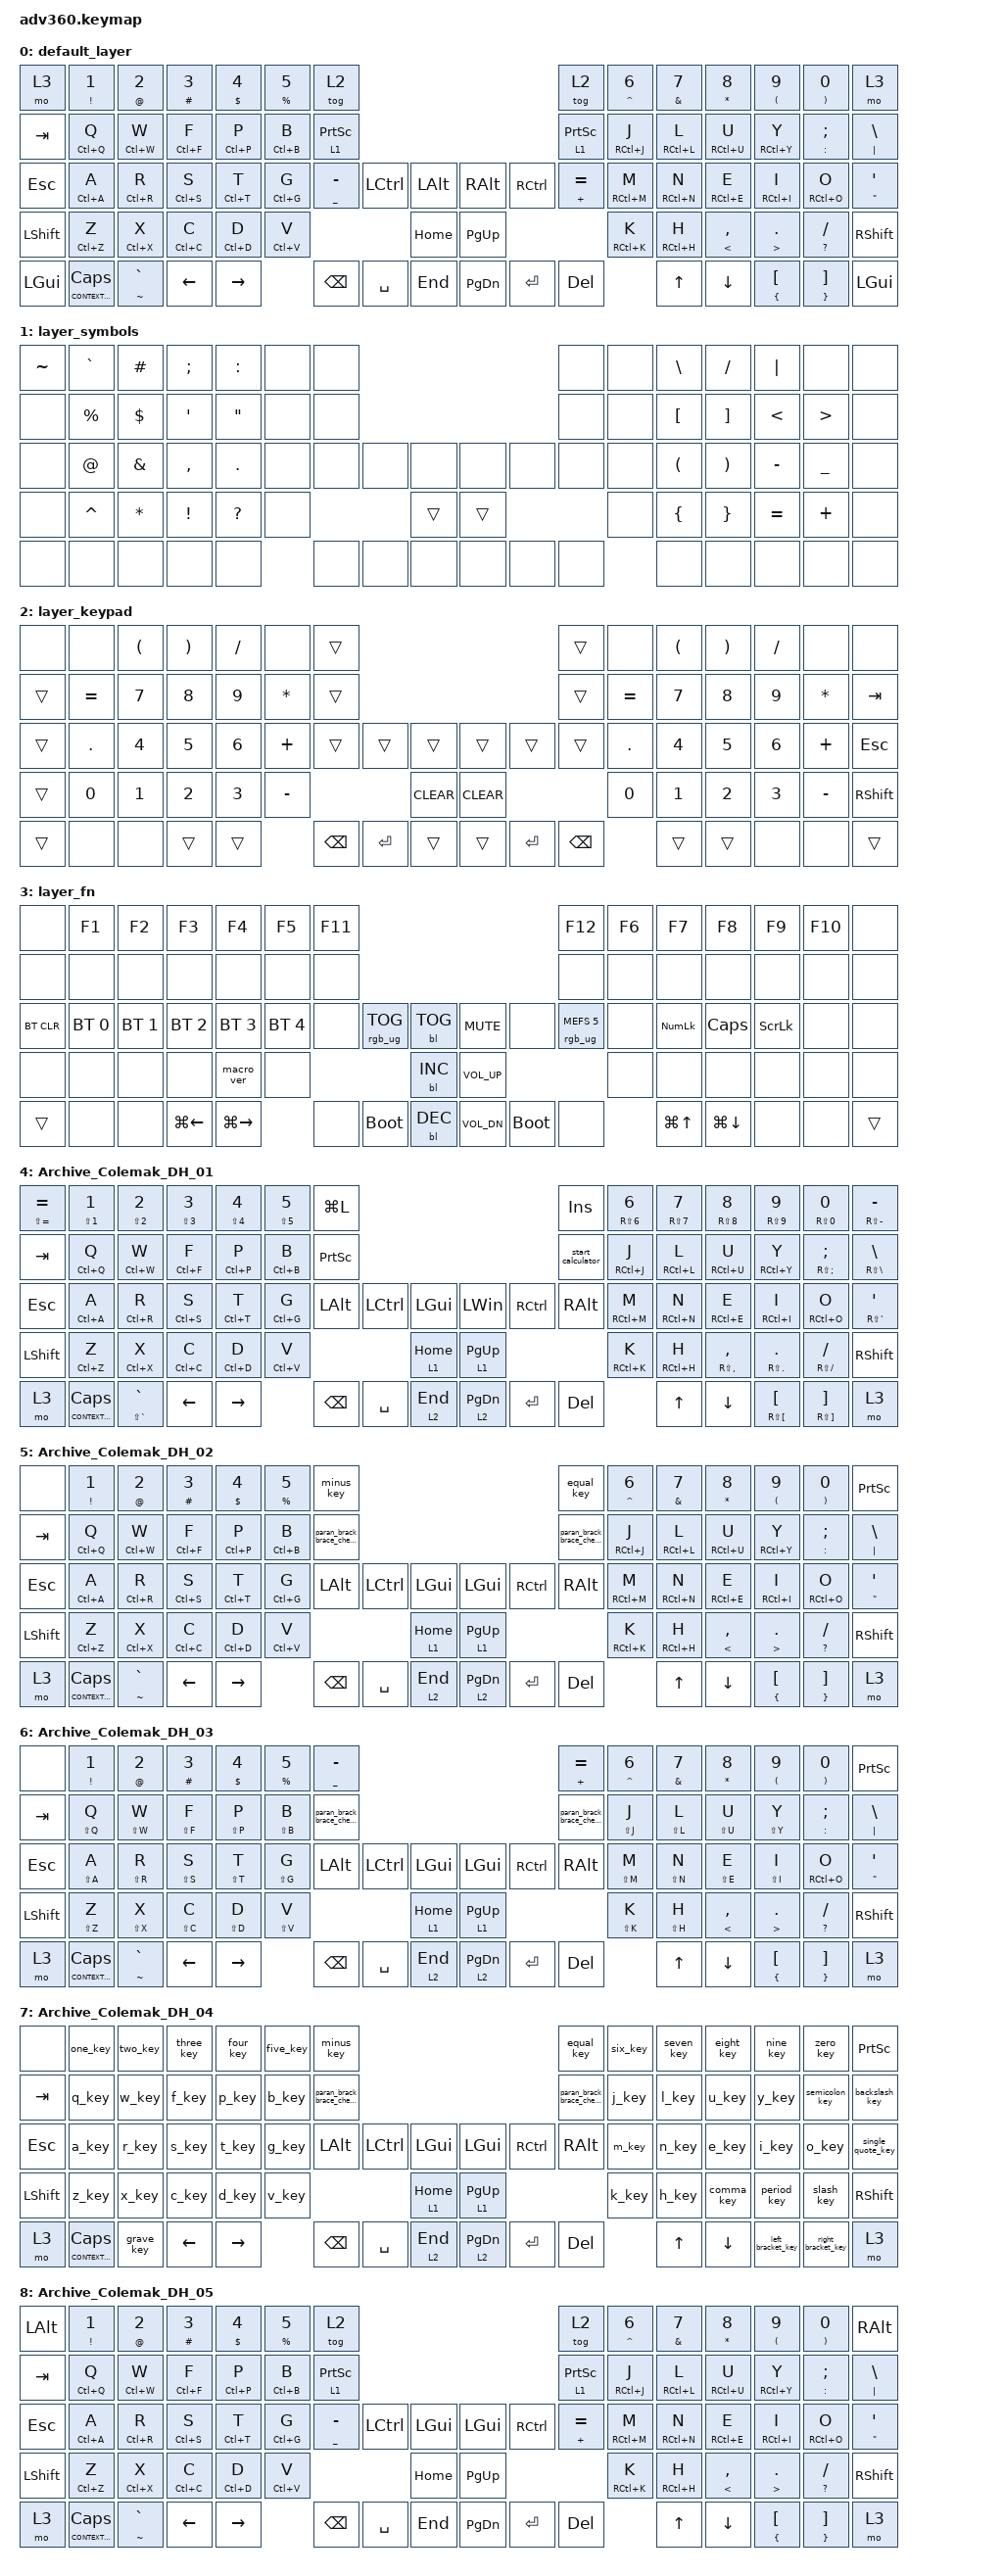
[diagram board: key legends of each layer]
/*
 * Copyright (c) 2020 The ZMK Contributors
 *
 * SPDX-License-Identifier: MIT
 */
/* THIS FILE WAS GENERATED!
 *
 * This file was generated automatically. You may or may not want to
 * edit it directly.
 */

#include <behaviors.dtsi>
#include <dt-bindings/zmk/backlight.h>
#include <dt-bindings/zmk/bt.h>
#include <dt-bindings/zmk/keys.h>
#include <dt-bindings/zmk/rgb.h>

&mt {
    flavor = "tap-preferred";
    tapping-term-ms = <200>;
};

/ {
    behaviors {
        #include "macros.dtsi"
    #include "version.dtsi"

        hm: homerow_mods {
            compatible = "zmk,behavior-hold-tap";
            label = "HOMEROW_MODS";
            #binding-cells = <2>;
            tapping-term-ms = <200>;
            quick_tap_ms = <175>;
            flavor = "tap-preferred";
            bindings = <&kp>, <&kp>;
        };

        check_battery: check_battery {
            compatible = "zmk,behavior-tap-dance";
            label = "CHECK_BATTERY";
            #binding-cells = <0>;
            bindings = <&mo 3>, <&rgb_ug RGB_TOG>;
        };

        tap_and_mo: tap_and_mo {
            compatible = "zmk,behavior-hold-tap";
            label = "TAP_AND_MO";
            bindings = <&mo>, <&kp>;

            #binding-cells = <2>;
            flavor = "tap-preferred";
            tapping-term-ms = <400>;
        };

        tap_and_tog: tap_and_tog {
            compatible = "zmk,behavior-hold-tap";
            label = "TAP_AND_TOG";
            bindings = <&tog>, <&kp>;

            #binding-cells = <2>;
            tapping-term-ms = <400>;
            flavor = "tap-preferred";
        };

        paran_brack_brace_chev_left: paran_brack_brace_chev_left {
            compatible = "zmk,behavior-tap-dance";
            label = "paran_brack_brace_chev_left";
            #binding-cells = <0>;
            bindings =
                <&kp LEFT_PARENTHESIS>,
                <&kp LEFT_BRACKET>,
                <&kp LEFT_BRACE>,
                <&kp LESS_THAN>;

            tapping-term-ms = <200>;
        };

        paran_brack_brace_chev_right: paran_brack_brace_chev_right {
            compatible = "zmk,behavior-tap-dance";
            label = "PARAN_BRACK_BRACE_CHEV_RIGHT";
            #binding-cells = <0>;
            bindings =
                <&kp RIGHT_PARENTHESIS>,
                <&kp RIGHT_BRACKET>,
                <&kp RIGHT_BRACE>,
                <&kp GREATER_THAN>;

            tapping-term-ms = <200>;
        };

        minus_key: minus_key {
            compatible = "zmk,behavior-tap-dance";
            label = "MINUS_KEY";
            #binding-cells = <0>;
            bindings =
                <&kp MINUS>,
                <&mt LS(MINUS) MINUS>,
                <&mt LC(MINUS) MINUS>,
                <&mt LA(MINUS) MINUS>;

            tapping-term-ms = <150>;
        };

        equal_key: equal_key {
            compatible = "zmk,behavior-tap-dance";
            label = "EQUAL_KEY";
            #binding-cells = <0>;
            bindings =
                <&kp EQUAL>,
                <&mt RS(EQUAL) EQUAL>,
                <&mt RC(EQUAL) EQUAL>,
                <&mt RA(EQUAL) EQUAL>;

            tapping-term-ms = <150>;
        };

        one_key: one_key {
            compatible = "zmk,behavior-tap-dance";
            label = "ONE_KEY";
            #binding-cells = <0>;
            bindings =
                <&kp NUMBER_1>,
                <&mt LS(NUMBER_1) NUMBER_1>,
                <&mt LC(NUMBER_1) NUMBER_1>,
                <&mt LA(NUMBER_1) NUMBER_1>;

            tapping-term-ms = <150>;
        };

        two_key: two_key {
            compatible = "zmk,behavior-tap-dance";
            label = "TWO_KEY";
            #binding-cells = <0>;
            bindings =
                <&kp NUMBER_2>,
                <&mt LS(NUMBER_2) NUMBER_2>,
                <&mt LC(NUMBER_2) NUMBER_2>,
                <&mt LA(NUMBER_2) NUMBER_2>;

            tapping-term-ms = <150>;
        };

        three_key: three_key {
            compatible = "zmk,behavior-tap-dance";
            label = "THREE_KEY";
            #binding-cells = <0>;
            bindings =
                <&kp NUMBER_3>,
                <&mt LS(NUMBER_3) NUMBER_3>,
                <&mt LC(NUMBER_3) NUMBER_3>,
                <&mt LA(NUMBER_3) NUMBER_3>;

            tapping-term-ms = <150>;
        };

        four_key: four_key {
            compatible = "zmk,behavior-tap-dance";
            label = "FOUR_KEY";
            #binding-cells = <0>;
            bindings =
                <&kp NUMBER_4>,
                <&mt LS(NUMBER_4) NUMBER_4>,
                <&mt LC(NUMBER_4) NUMBER_4>,
                <&mt LA(NUMBER_4) NUMBER_4>;

            tapping-term-ms = <150>;
        };

        five_key: five_key {
            compatible = "zmk,behavior-tap-dance";
            label = "FIVE_KEY";
            #binding-cells = <0>;
            bindings =
                <&kp NUMBER_5>,
                <&mt LS(NUMBER_5) NUMBER_5>,
                <&mt LC(NUMBER_5) NUMBER_5>,
                <&mt LA(NUMBER_5) NUMBER_5>;

            tapping-term-ms = <150>;
        };

        six_key: six_key {
            compatible = "zmk,behavior-tap-dance";
            label = "SIX_KEY";
            #binding-cells = <0>;
            bindings =
                <&kp NUMBER_6>,
                <&mt RS(NUMBER_6) NUMBER_6>,
                <&mt RC(NUMBER_6) NUMBER_6>,
                <&mt RA(NUMBER_6) NUMBER_6>;

            tapping-term-ms = <150>;
        };

        seven_key: seven_key {
            compatible = "zmk,behavior-tap-dance";
            label = "SEVEN_KEY";
            #binding-cells = <0>;
            bindings =
                <&kp NUMBER_7>,
                <&mt RS(NUMBER_7) NUMBER_7>,
                <&mt RC(NUMBER_7) NUMBER_7>,
                <&mt RA(NUMBER_7) NUMBER_7>;

            tapping-term-ms = <150>;
        };

        eight_key: eight_key {
            compatible = "zmk,behavior-tap-dance";
            label = "EIGHT_KEY";
            #binding-cells = <0>;
            bindings =
                <&kp NUMBER_8>,
                <&mt RS(NUMBER_8) NUMBER_8>,
                <&mt RC(NUMBER_8) NUMBER_8>,
                <&mt RA(NUMBER_8) NUMBER_8>;

            tapping-term-ms = <150>;
        };

        nine_key: nine_key {
            compatible = "zmk,behavior-tap-dance";
            label = "NINE_KEY";
            #binding-cells = <0>;
            bindings =
                <&kp NUMBER_9>,
                <&mt RS(NUMBER_9) NUMBER_9>,
                <&mt RC(NUMBER_9) NUMBER_9>,
                <&mt RA(NUMBER_9) NUMBER_9>;

            tapping-term-ms = <150>;
        };

        zero_key: zero_key {
            compatible = "zmk,behavior-tap-dance";
            label = "ZERO_KEY";
            #binding-cells = <0>;
            bindings =
                <&kp NUMBER_0>,
                <&mt RS(NUMBER_0) NUMBER_0>,
                <&mt RC(NUMBER_0) NUMBER_0>,
                <&mt RA(NUMBER_0) NUMBER_0>;

            tapping-term-ms = <150>;
        };

        q_key: q_key {
            compatible = "zmk,behavior-tap-dance";
            label = "Q_KEY";
            #binding-cells = <0>;
            bindings = <&kp Q>, <&mt LS(Q) Q>, <&mt LC(Q) Q>, <&mt LA(Q) Q>;

            tapping-term-ms = <150>;
        };

        w_key: w_key {
            compatible = "zmk,behavior-tap-dance";
            label = "W_KEY";
            #binding-cells = <0>;
            bindings = <&kp W>, <&mt LS(W) W>, <&mt LC(W) W>, <&mt LA(W) W>;

            tapping-term-ms = <150>;
        };

        f_key: f_key {
            compatible = "zmk,behavior-tap-dance";
            label = "F_KEY";
            #binding-cells = <0>;
            bindings = <&kp F>, <&mt LS(F) F>, <&mt LC(F) F>, <&mt LA(F) F>;

            tapping-term-ms = <150>;
        };

        p_key: p_key {
            compatible = "zmk,behavior-tap-dance";
            label = "P_KEY";
            #binding-cells = <0>;
            bindings = <&kp P>, <&mt LS(P) P>, <&mt LC(P) P>, <&mt LA(P) P>;

            tapping-term-ms = <150>;
        };

        b_key: b_key {
            compatible = "zmk,behavior-tap-dance";
            label = "B_KEY";
            #binding-cells = <0>;
            bindings = <&kp B>, <&mt LS(B) B>, <&mt LC(B) B>, <&mt LA(B) B>;

            tapping-term-ms = <150>;
        };

        j_key: j_key {
            compatible = "zmk,behavior-tap-dance";
            label = "J_KEY";
            #binding-cells = <0>;
            bindings = <&kp J>, <&mt RS(J) J>, <&mt RC(J) J>, <&mt RA(J) J>;

            tapping-term-ms = <150>;
        };

        l_key: l_key {
            compatible = "zmk,behavior-tap-dance";
            label = "L_KEY";
            #binding-cells = <0>;
            bindings = <&kp L>, <&mt RS(L) L>, <&mt RC(L) L>, <&mt RA(L) L>;

            tapping-term-ms = <150>;
        };

        u_key: u_key {
            compatible = "zmk,behavior-tap-dance";
            label = "U_KEY";
            #binding-cells = <0>;
            bindings = <&kp U>, <&mt RS(U) U>, <&mt RC(U) U>, <&mt RA(U) U>;

            tapping-term-ms = <150>;
        };

        y_key: y_key {
            compatible = "zmk,behavior-tap-dance";
            label = "Y_KEY";
            #binding-cells = <0>;
            bindings = <&kp Y>, <&mt RS(Y) Y>, <&mt RC(Y) Y>, <&mt RA(Y) Y>;

            tapping-term-ms = <150>;
        };

        a_key: a_key {
            compatible = "zmk,behavior-tap-dance";
            label = "A_KEY";
            #binding-cells = <0>;
            bindings = <&kp A>, <&mt LS(A) A>, <&mt LC(A) A>, <&mt LA(A) A>;

            tapping-term-ms = <150>;
        };

        r_key: r_key {
            compatible = "zmk,behavior-tap-dance";
            label = "R_KEY";
            #binding-cells = <0>;
            bindings = <&kp R>, <&mt LS(R) R>, <&mt LC(R) R>, <&mt LA(R) R>;

            tapping-term-ms = <150>;
        };

        s_key: s_key {
            compatible = "zmk,behavior-tap-dance";
            label = "S_KEY";
            #binding-cells = <0>;
            bindings = <&kp S>, <&mt LS(S) S>, <&mt LC(S) S>, <&mt LA(S) S>;

            tapping-term-ms = <150>;
        };

        t_key: t_key {
            compatible = "zmk,behavior-tap-dance";
            label = "T_KEY";
            #binding-cells = <0>;
            bindings = <&kp T>, <&mt LS(T) T>, <&mt LC(T) T>, <&mt LA(T) T>;

            tapping-term-ms = <150>;
        };

        g_key: g_key {
            compatible = "zmk,behavior-tap-dance";
            label = "G_KEY";
            #binding-cells = <0>;
            bindings = <&kp G>, <&mt LS(G) G>, <&mt LC(G) G>, <&mt LA(G) G>;

            tapping-term-ms = <150>;
        };

        m_key: m_key {
            compatible = "zmk,behavior-tap-dance";
            label = "M_KEY";
            #binding-cells = <0>;
            bindings = <&kp M>, <&mt RS(M) M>, <&mt RC(M) M>, <&mt RA(M) M>;

            tapping-term-ms = <150>;
        };

        n_key: n_key {
            compatible = "zmk,behavior-tap-dance";
            label = "N_KEY";
            #binding-cells = <0>;
            bindings = <&kp N>, <&mt RS(N) N>, <&mt RC(N) N>, <&mt RS(N) N>;

            tapping-term-ms = <150>;
        };

        e_key: e_key {
            compatible = "zmk,behavior-tap-dance";
            label = "E_KEY";
            #binding-cells = <0>;
            bindings = <&kp E>, <&mt RS(E) E>, <&mt RC(E) E>, <&mt RA(E) E>;

            tapping-term-ms = <150>;
        };

        i_key: i_key {
            compatible = "zmk,behavior-tap-dance";
            label = "I_KEY";
            #binding-cells = <0>;
            bindings = <&kp I>, <&mt RS(I) I>, <&mt RC(I) I>, <&mt RA(I) I>;

            tapping-term-ms = <150>;
        };

        o_key: o_key {
            compatible = "zmk,behavior-tap-dance";
            label = "O_KEY";
            #binding-cells = <0>;
            bindings = <&kp O>, <&mt RS(O) O>, <&mt RC(O) O>, <&mt RA(O) O>;

            tapping-term-ms = <150>;
        };

        z_key: z_key {
            compatible = "zmk,behavior-tap-dance";
            label = "Z_KEY";
            #binding-cells = <0>;
            bindings = <&kp Z>, <&mt LS(Z) Z>, <&mt LC(Z) Z>, <&mt LA(Z) Z>;

            tapping-term-ms = <150>;
        };

        x_key: x_key {
            compatible = "zmk,behavior-tap-dance";
            label = "X_KEY";
            #binding-cells = <0>;
            bindings = <&kp X>, <&mt LS(X) X>, <&mt LC(X) X>, <&mt LA(X) X>;

            tapping-term-ms = <150>;
        };

        c_key: c_key {
            compatible = "zmk,behavior-tap-dance";
            label = "C_KEY";
            #binding-cells = <0>;
            bindings = <&kp C>, <&mt LS(C) C>, <&mt LC(C) C>, <&mt LA(C) C>;

            tapping-term-ms = <150>;
        };

        d_key: d_key {
            compatible = "zmk,behavior-tap-dance";
            label = "D_KEY";
            #binding-cells = <0>;
            bindings = <&kp D>, <&mt LS(D) D>, <&mt LC(D) D>, <&mt LA(D) D>;

            tapping-term-ms = <150>;
        };

        v_key: v_key {
            compatible = "zmk,behavior-tap-dance";
            label = "V_KEY";
            #binding-cells = <0>;
            bindings = <&kp V>, <&mt LS(V) V>, <&mt LC(V) V>, <&mt LA(V) V>;

            tapping-term-ms = <150>;
        };

        k_key: k_key {
            compatible = "zmk,behavior-tap-dance";
            label = "K_KEY";
            #binding-cells = <0>;
            bindings = <&kp K>, <&mt RS(K) K>, <&mt RC(K) K>, <&mt RA(K) K>;

            tapping-term-ms = <150>;
        };

        h_key: h_key {
            compatible = "zmk,behavior-tap-dance";
            label = "H_KEY";
            #binding-cells = <0>;
            bindings = <&kp H>, <&mt RS(H) H>, <&mt RC(H) H>, <&mt RA(H) H>;

            tapping-term-ms = <150>;
        };

        semicolon_key: semicolon_key {
            compatible = "zmk,behavior-tap-dance";
            label = "SEMICOLON_KEY";
            #binding-cells = <0>;
            bindings =
                <&kp SEMICOLON>,
                <&mt RS(SEMICOLON) SEMICOLON>,
                <&mt RC(SEMICOLON) SEMICOLON>,
                <&mt RA(SEMICOLON) SEMICOLON>;

            tapping-term-ms = <150>;
        };

        backslash_key: backslash_key {
            compatible = "zmk,behavior-tap-dance";
            label = "BACKSLASH_KEY";
            #binding-cells = <0>;
            bindings =
                <&kp BACKSLASH>,
                <&mt RS(BACKSLASH) BACKSLASH>,
                <&mt RC(BACKSLASH) BACKSLASH>,
                <&mt RA(BACKSLASH) BACKSLASH>;

            tapping-term-ms = <150>;
        };

        single_quote_key: single_quote_key {
            compatible = "zmk,behavior-tap-dance";
            label = "SINGLE_QUOTE_KEY";
            #binding-cells = <0>;
            bindings =
                <&kp SINGLE_QUOTE>,
                <&mt LS(SINGLE_QUOTE) SINGLE_QUOTE>,
                <&mt RC(SINGLE_QUOTE) SINGLE_QUOTE>,
                <&mt RA(SINGLE_QUOTE) SINGLE_QUOTE>;

            tapping-term-ms = <150>;
        };

        comma_key: comma_key {
            compatible = "zmk,behavior-tap-dance";
            label = "COMMA_KEY";
            #binding-cells = <0>;
            bindings =
                <&kp COMMA>,
                <&mt RS(COMMA) COMMA>,
                <&mt RC(COMMA) COMMA>,
                <&mt RA(COMMA) COMMA>;

            tapping-term-ms = <150>;
        };

        period_key: period_key {
            compatible = "zmk,behavior-tap-dance";
            label = "PERIOD_KEY";
            #binding-cells = <0>;
            bindings =
                <&kp PERIOD>,
                <&mt RS(PERIOD) PERIOD>,
                <&mt RC(PERIOD) PERIOD>,
                <&mt RA(PERIOD) PERIOD>;

            tapping-term-ms = <150>;
        };

        slash_key: slash_key {
            compatible = "zmk,behavior-tap-dance";
            label = "SLASH_KEY";
            #binding-cells = <0>;
            bindings =
                <&kp SLASH>,
                <&mt LS(SLASH) SLASH>,
                <&mt RC(SLASH) SLASH>,
                <&mt RA(SLASH) SLASH>;

            tapping-term-ms = <150>;
        };

        grave_key: grave_key {
            compatible = "zmk,behavior-tap-dance";
            label = "GRAVE_KEY";
            #binding-cells = <0>;
            bindings =
                <&kp GRAVE>,
                <&mt LS(GRAVE) GRAVE>,
                <&mt LC(GRAVE) GRAVE>,
                <&mt LA(GRAVE) GRAVE>;

            tapping-term-ms = <150>;
        };

        left_bracket_key: left_bracket_key {
            compatible = "zmk,behavior-tap-dance";
            label = "LEFT_BRACKET_KEY";
            #binding-cells = <0>;
            bindings =
                <&kp LEFT_BRACKET>,
                <&mt RS(LEFT_BRACKET) LEFT_BRACKET>,
                <&mt RC(LEFT_BRACKET) LEFT_BRACKET>,
                <&mt RA(LEFT_BRACKET) LEFT_BRACKET>;

            tapping-term-ms = <150>;
        };

        right_bracket_key: right_bracket_key {
            compatible = "zmk,behavior-tap-dance";
            label = "RIGHT_BRACKET_KEY";
            #binding-cells = <0>;
            bindings =
                <&kp RIGHT_BRACKET>,
                <&mt RS(RIGHT_BRACKET) RIGHT_BRACKET>,
                <&mt RC(RIGHT_BRACKET) RIGHT_BRACKET>,
                <&mt RA(RIGHT_BRACKET) RIGHT_BRACKET>;

            tapping-term-ms = <150>;
        };
    };

    combos { compatible = "zmk,combos"; };

    macros {
        start_calculator: start_calculator {
            compatible = "zmk,behavior-macro";
            #binding-cells = <0>;
            bindings =
                <&kp LWIN &kp C &kp A &kp L &kp C &kp U &kp L &kp A &kp T &kp O &kp R &kp ENTER>,
                <&macro_tap>;

            label = "START_CALCULATOR";
        };
    };

    keymap {
        compatible = "zmk,keymap";

        default_layer {
            bindings = <
&mo 3           &mt EXCLAMATION NUMBER_1     &mt AT_SIGN NUMBER_2  &mt POUND NUMBER_3  &mt DOLLAR NUMBER_4  &mt PERCENT NUMBER_5  &tog 2                                                                                           &tog 2                     &mt CARET NUMBER_6  &mt AMPERSAND NUMBER_7  &mt ASTERISK NUMBER_8  &mt LEFT_PARENTHESIS NUMBER_9  &mt RIGHT_PARENTHESIS NUMBER_0  &mo 3
&kp TAB         &mt LC(Q) Q                  &mt LC(W) W           &mt LC(F) F         &mt LC(P) P          &mt LC(B) B           &tap_and_mo 1 PRINTSCREEN                                                                        &tap_and_mo 1 PRINTSCREEN  &mt RC(J) J         &mt RC(L) L             &mt RC(U) U            &mt RC(Y) Y                    &mt COLON SEMI                  &mt PIPE BSLH
&kp ESCAPE      &mt LC(A) A                  &mt LC(R) R           &mt LC(S) S         &mt LC(T) T          &mt LC(G) G           &mt UNDERSCORE MINUS       &kp LEFT_CONTROL  &kp LEFT_ALT      &kp RIGHT_ALT  &kp RIGHT_CONTROL  &mt PLUS EQUAL             &mt RC(M) M         &mt RC(N) N             &mt RC(E) E            &mt RC(I) I                    &mt RC(O) O                     &mt DOUBLE_QUOTES SQT
&kp LEFT_SHIFT  &mt LC(Z) Z                  &mt LC(X) X           &mt LC(C) C         &mt LC(D) D          &mt LC(V) V                                                        &kp HOME          &kp PAGE_UP                                                  &mt RC(K) K         &mt RC(H) H             &mt LESS_THAN COMMA    &mt GREATER_THAN DOT           &mt QUESTION FSLH               &kp RIGHT_SHIFT
&kp LEFT_GUI    &mt K_CONTEXT_MENU CAPSLOCK  &mt TILDE GRAVE       &kp LEFT            &kp RIGHT                                  &kp BACKSPACE              &kp SPACE         &kp END           &kp PAGE_DOWN  &kp ENTER          &kp DELETE                                     &kp UP                  &kp DOWN               &mt LEFT_BRACE LBKT            &mt RIGHT_BRACE RBKT            &kp LEFT_GUI
            >;
        };

        layer_symbols {
            bindings = <
&kp TILDE  &kp GRAVE  &kp POUND  &kp SEMI   &kp COLON   &none  &none                                    &none  &none  &kp BSLH  &kp FSLH  &kp PIPE   &none           &none
&none      &kp PRCNT  &kp DLLR   &kp SQT    &kp DQT     &none  &none                                    &none  &none  &kp LBKT  &kp RBKT  &kp LT     &kp GT          &none
&none      &kp AT     &kp AMPS   &kp COMMA  &kp PERIOD  &none  &none  &none  &none       &none   &none  &none  &none  &kp LPAR  &kp RPAR  &kp MINUS  &kp UNDERSCORE  &none
&none      &kp CARET  &kp ASTRK  &kp EXCL   &kp QMARK   &none                &trans      &trans                &none  &kp LBRC  &kp RBRC  &kp EQUAL  &kp PLUS        &none
&none      &none      &none      &none      &none              &none  &none  &none       &none   &none  &none         &none     &none     &none      &none           &none
            >;
        };

        layer_keypad {
            bindings = <
&none   &none       &kp LPAR  &kp RPAR  &kp FSLH  &none      &trans                                                         &trans         &none      &kp LPAR  &kp RPAR  &kp FSLH  &none      &none
&trans  &kp EQUAL   &kp N7    &kp N8    &kp N9    &kp ASTRK  &trans                                                         &trans         &kp EQUAL  &kp N7    &kp N8    &kp N9    &kp ASTRK  &kp TAB
&trans  &kp PERIOD  &kp N4    &kp N5    &kp N6    &kp PLUS   &trans         &trans     &trans         &trans     &trans     &trans         &kp DOT    &kp N4    &kp N5    &kp N6    &kp PLUS   &kp ESC
&trans  &kp N0      &kp N1    &kp N2    &kp N3    &kp MINUS                            &kp CLEAR      &kp CLEAR                            &kp N0     &kp N1    &kp N2    &kp N3    &kp MINUS  &kp RIGHT_SHIFT
&trans  &none       &none     &trans    &trans               &kp BACKSPACE  &kp ENTER  &trans         &trans     &kp ENTER  &kp BACKSPACE             &trans    &trans    &none     &none      &trans
            >;
        };

        layer_fn {
            bindings = <
&none       &kp F1        &kp F2        &kp F3        &kp F4         &kp F5        &kp F11                                                                 &kp F12                 &kp F6  &kp F7          &kp F8        &kp F9    &kp F10  &none
&none       &none         &none         &none         &none          &none         &none                                                                   &none                   &none   &none           &none         &none     &none    &none
&bt BT_CLR  &bt BT_SEL 0  &bt BT_SEL 1  &bt BT_SEL 2  &bt BT_SEL 3   &bt BT_SEL 4  &none    &rgb_ug RGB_TOG  &bl BL_TOG      &kp C_MUTE       &none        &rgb_ug RGB_MEFS_CMD 5  &none   &kp KP_NUMLOCK  &kp CAPS      &kp SLCK  &none    &none
&none       &none         &none         &none         &macro_ver     &none                                   &bl BL_INC      &kp C_VOLUME_UP                                       &none   &none           &none         &none     &none    &none
&trans      &none         &none         &kp LG(LEFT)  &kp LG(RIGHT)                &none    &bootloader      &bl BL_DEC      &kp C_VOL_DN     &bootloader  &none                           &kp LG(UP)      &kp LG(DOWN)  &none     &none    &trans
            >;
        };

        Archive_Colemak_DH_01 {
            bindings = <
&mt LS(EQUAL) EQUAL  &mt LS(N1) N1            &mt LS(N2) N2        &mt LS(N3) NUMBER_3  &mt LS(N4) N4  &mt LS(N5) N5  &kp LG(L)                                                                          &kp INS            &mt RS(N6) NUMBER_6  &mt RS(N7) N7  &mt RS(N8) N8        &mt RS(N9) N9      &mt RS(N0) N0      &mt RS(MINUS) MINUS
&kp TAB              &mt LC(Q) Q              &mt LC(W) W          &mt LC(F) F          &mt LC(P) P    &mt LC(B) B    &kp PSCRN                                                                          &start_calculator  &mt RC(J) J          &mt RC(L) L    &mt RC(U) U          &mt RC(Y) Y        &mt RS(SEMI) SEMI  &mt RS(BSLH) BSLH
&kp ESC              &mt LC(A) A              &mt LC(R) R          &mt LC(S) S          &mt LC(T) T    &mt LC(G) G    &kp LALT       &kp LCTRL  &kp LGUI                &kp LWIN              &kp RCTRL  &kp RALT           &mt RC(M) M          &mt RC(N) N    &mt RC(E) E          &mt RC(I) I        &mt RC(O) O        &mt RS(SQT) SQT
&kp LEFT_SHIFT       &mt LC(Z) Z              &mt LC(X) X          &mt LC(C) C          &mt LC(D) D    &mt LC(V) V                              &tap_and_mo 1 HOME      &tap_and_mo 1 PG_UP                                 &mt RC(K) K          &mt RC(H) H    &mt RS(COMMA) COMMA  &mt RS(DOT) DOT    &mt RS(FSLH) FSLH  &kp RIGHT_SHIFT
&mo 3                &mt K_CONTEXT_MENU CAPS  &mt LS(GRAVE) GRAVE  &kp LEFT             &kp RIGHT                     &kp BACKSPACE  &kp SPACE  &tap_and_tog 2 END      &tap_and_tog 2 PG_DN  &kp ENTER  &kp DEL                                 &kp UP         &kp DOWN             &mt RS(LBKT) LBKT  &mt RS(RBKT) RBKT  &mo 3
            >;
        };

        Archive_Colemak_DH_02 {
            bindings = <
&none           &mt EXCLAMATION N1           &mt AT_SIGN N2   &mt POUND NUMBER_3  &mt DOLLAR N4  &mt PERCENT N5  &minus_key                                                                                                       &equal_key                     &mt CARET NUMBER_6  &mt AMPERSAND N7  &mt ASTERISK N8      &mt LEFT_PARENTHESIS N9  &mt RIGHT_PARENTHESIS N0  &kp PSCRN
&kp TAB         &mt LC(Q) Q                  &mt LC(W) W      &mt LC(F) F         &mt LC(P) P    &mt LC(B) B     &paran_brack_brace_chev_left                                                                                     &paran_brack_brace_chev_right  &mt RC(J) J         &mt RC(L) L       &mt RC(U) U          &mt RC(Y) Y              &mt COLON SEMI            &mt PIPE BSLH
&kp ESCAPE      &mt LC(A) A                  &mt LC(R) R      &mt LC(S) S         &mt LC(T) T    &mt LC(G) G     &kp LALT                      &kp LEFT_CONTROL  &kp LEFT_GUI            &kp LEFT_GUI          &kp RIGHT_CONTROL  &kp RALT                       &mt RC(M) M         &mt RC(N) N       &mt RC(E) E          &mt RC(I) I              &mt RC(O) O               &mt DOUBLE_QUOTES SQT
&kp LEFT_SHIFT  &mt LC(Z) Z                  &mt LC(X) X      &mt LC(C) C         &mt LC(D) D    &mt LC(V) V                                                     &tap_and_mo 1 HOME      &tap_and_mo 1 PG_UP                                                     &mt RC(K) K         &mt RC(H) H       &mt LESS_THAN COMMA  &mt GREATER_THAN DOT     &mt QUESTION FSLH         &kp RIGHT_SHIFT
&mo 3           &mt K_CONTEXT_MENU CAPSLOCK  &mt TILDE GRAVE  &kp LEFT            &kp RIGHT                      &kp BACKSPACE                 &kp SPACE         &tap_and_tog 2 END      &tap_and_tog 2 PG_DN  &kp ENTER          &kp DELETE                                         &kp UP            &kp DOWN             &mt LEFT_BRACE LBKT      &mt RIGHT_BRACE RBKT      &mo 3
            >;
        };

        Archive_Colemak_DH_03 {
            bindings = <
&none           &mt EXCLAMATION N1           &mt AT_SIGN N2   &mt POUND NUMBER_3  &mt DOLLAR N4  &mt PERCENT N5  &mt UNDERSCORE MINUS                                                                                             &mt PLUS EQUAL                 &mt CARET NUMBER_6  &mt AMPERSAND N7  &mt ASTERISK N8      &mt LEFT_PARENTHESIS N9  &mt RIGHT_PARENTHESIS N0  &kp PSCRN
&kp TAB         &mt LS(Q) Q                  &mt LS(W) W      &mt LS(F) F         &mt LS(P) P    &mt LS(B) B     &paran_brack_brace_chev_left                                                                                     &paran_brack_brace_chev_right  &mt LS(J) J         &mt LS(L) L       &mt LS(U) U          &mt LS(Y) Y              &mt COLON SEMI            &mt PIPE BSLH
&kp ESCAPE      &mt LS(A) A                  &mt LS(R) R      &mt LS(S) S         &mt LS(T) T    &mt LS(G) G     &kp LALT                      &kp LEFT_CONTROL  &kp LEFT_GUI            &kp LEFT_GUI          &kp RIGHT_CONTROL  &kp RALT                       &mt LS(M) M         &mt LS(N) N       &mt LS(E) E          &mt LS(I) I              &mt RC(O) O               &mt DOUBLE_QUOTES SQT
&kp LEFT_SHIFT  &mt LS(Z) Z                  &mt LS(X) X      &mt LS(C) C         &mt LS(D) D    &mt LS(V) V                                                     &tap_and_mo 1 HOME      &tap_and_mo 1 PG_UP                                                     &mt LS(K) K         &mt LS(H) H       &mt LESS_THAN COMMA  &mt GREATER_THAN DOT     &mt QUESTION FSLH         &kp RIGHT_SHIFT
&mo 3           &mt K_CONTEXT_MENU CAPSLOCK  &mt TILDE GRAVE  &kp LEFT            &kp RIGHT                      &kp BACKSPACE                 &kp SPACE         &tap_and_tog 2 END      &tap_and_tog 2 PG_DN  &kp ENTER          &kp DELETE                                         &kp UP            &kp DOWN             &mt LEFT_BRACE LBKT      &mt RIGHT_BRACE RBKT      &mo 3
            >;
        };

        Archive_Colemak_DH_04 {
            bindings = <
&none           &one_key                     &two_key    &three_key  &four_key  &five_key  &minus_key                                                                                                       &equal_key                     &six_key  &seven_key  &eight_key  &nine_key          &zero_key           &kp PSCRN
&kp TAB         &q_key                       &w_key      &f_key      &p_key     &b_key     &paran_brack_brace_chev_left                                                                                     &paran_brack_brace_chev_right  &j_key    &l_key      &u_key      &y_key             &semicolon_key      &backslash_key
&kp ESCAPE      &a_key                       &r_key      &s_key      &t_key     &g_key     &kp LALT                      &kp LEFT_CONTROL  &kp LEFT_GUI            &kp LEFT_GUI          &kp RIGHT_CONTROL  &kp RALT                       &m_key    &n_key      &e_key      &i_key             &o_key              &single_quote_key
&kp LEFT_SHIFT  &z_key                       &x_key      &c_key      &d_key     &v_key                                                     &tap_and_mo 1 HOME      &tap_and_mo 1 PG_UP                                                     &k_key    &h_key      &comma_key  &period_key        &slash_key          &kp RIGHT_SHIFT
&mo 3           &mt K_CONTEXT_MENU CAPSLOCK  &grave_key  &kp LEFT    &kp RIGHT             &kp BACKSPACE                 &kp SPACE         &tap_and_tog 2 END      &tap_and_tog 2 PG_DN  &kp ENTER          &kp DELETE                               &kp UP      &kp DOWN    &left_bracket_key  &right_bracket_key  &mo 3
            >;
        };

        Archive_Colemak_DH_05 {
            bindings = <
&kp LEFT_ALT    &mt EXCLAMATION NUMBER_1     &mt AT_SIGN NUMBER_2  &mt POUND NUMBER_3  &mt DOLLAR NUMBER_4  &mt PERCENT NUMBER_5  &tog 2                                                                                           &tog 2                     &mt CARET NUMBER_6  &mt AMPERSAND NUMBER_7  &mt ASTERISK NUMBER_8  &mt LEFT_PARENTHESIS NUMBER_9  &mt RIGHT_PARENTHESIS NUMBER_0  &kp RIGHT_ALT
&kp TAB         &mt LC(Q) Q                  &mt LC(W) W           &mt LC(F) F         &mt LC(P) P          &mt LC(B) B           &tap_and_mo 1 PRINTSCREEN                                                                        &tap_and_mo 1 PRINTSCREEN  &mt RC(J) J         &mt RC(L) L             &mt RC(U) U            &mt RC(Y) Y                    &mt COLON SEMI                  &mt PIPE BSLH
&kp ESCAPE      &mt LC(A) A                  &mt LC(R) R           &mt LC(S) S         &mt LC(T) T          &mt LC(G) G           &mt UNDERSCORE MINUS       &kp LEFT_CONTROL  &kp LEFT_GUI      &kp LEFT_GUI   &kp RIGHT_CONTROL  &mt PLUS EQUAL             &mt RC(M) M         &mt RC(N) N             &mt RC(E) E            &mt RC(I) I                    &mt RC(O) O                     &mt DOUBLE_QUOTES SQT
&kp LEFT_SHIFT  &mt LC(Z) Z                  &mt LC(X) X           &mt LC(C) C         &mt LC(D) D          &mt LC(V) V                                                        &kp HOME          &kp PAGE_UP                                                  &mt RC(K) K         &mt RC(H) H             &mt LESS_THAN COMMA    &mt GREATER_THAN DOT           &mt QUESTION FSLH               &kp RIGHT_SHIFT
&mo 3           &mt K_CONTEXT_MENU CAPSLOCK  &mt TILDE GRAVE       &kp LEFT            &kp RIGHT                                  &kp BACKSPACE              &kp SPACE         &kp END           &kp PAGE_DOWN  &kp ENTER          &kp DELETE                                     &kp UP                  &kp DOWN               &mt LEFT_BRACE LBKT            &mt RIGHT_BRACE RBKT            &mo 3
            >;
        };
    };
};
